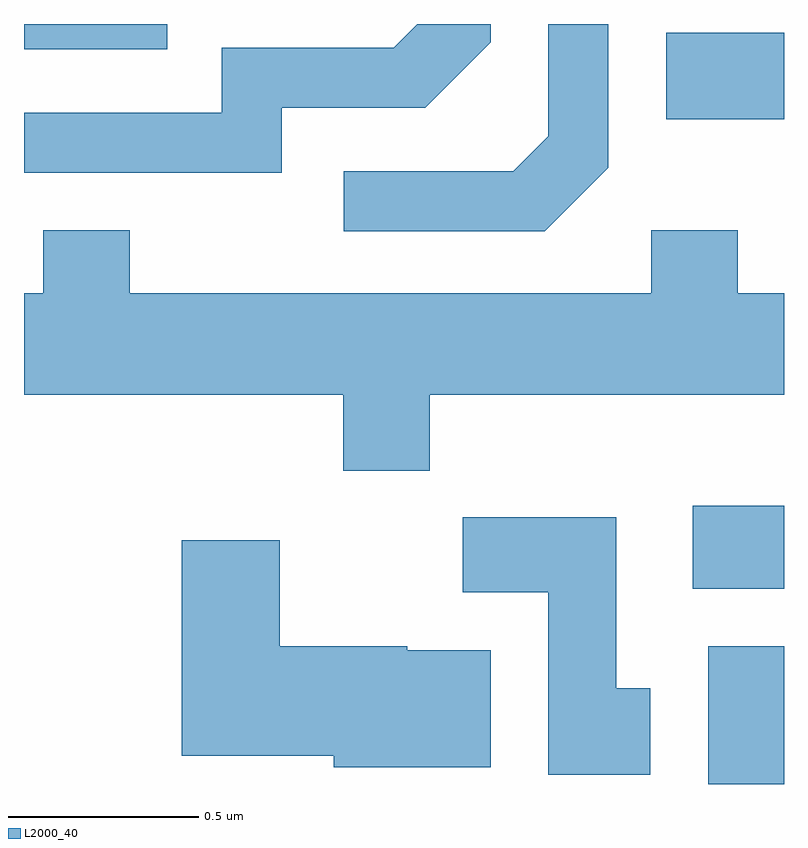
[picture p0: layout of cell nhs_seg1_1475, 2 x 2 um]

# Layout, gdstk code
import gdstk
lib = gdstk.Library(unit=1e-6, precision=1e-09)
def R(c, l, rs):  # rectangles x0, y0, x1, y1
    for r in rs: c.add(gdstk.rectangle(r[:2], r[2:], *l))
def P(c, l, *ps):  # polygons
    for p in ps: c.add(gdstk.Polygon(p, *l))
L2000_40 = (2000, 40)

nhs_seg1_1475 = lib.new_cell('nhs_seg1_1475')
R(nhs_seg1_1475, L2000_40, [(197.411,960.712,197.611,961.074), (197.371,961.226,197.611,961.444), (197.301,962.461,197.611,962.689), (195.611,962.646,195.988,962.712)])
P(nhs_seg1_1475, L2000_40, [(197.149,962.334),(197.149,962.712),(196.991,962.712),(196.991,962.417),(196.899,962.324),(196.453,962.324),(196.453,962.166),(196.982,962.166)],
  [(196.289,962.491),(196.667,962.491),(196.839,962.664),(196.839,962.712),(196.646,962.712),(196.584,962.649),(196.131,962.649),(196.131,962.479),(195.611,962.479),(195.611,962.321),(196.289,962.321)],
  [(196.679,961.736),(197.611,961.736),(197.611,962.004),(197.489,962.004),(197.489,962.169),(197.261,962.169),(197.261,962.004),(195.889,962.004),(195.889,962.169),(195.661,962.169),(195.661,962.004),(195.611,962.004),(195.611,961.736),(196.451,961.736),(196.451,961.536),(196.679,961.536)],
  [(197.259,960.964),(197.169,960.964),(197.169,961.414),(196.766,961.414),(196.766,961.216),(196.991,961.216),(196.991,960.736),(197.259,960.736)],
  [(196.839,961.064),(196.62,961.064),(196.62,961.074),(196.284,961.074),(196.284,961.354),(196.026,961.354),(196.026,960.786),(196.426,960.786),(196.426,960.756),(196.839,960.756)])

lib.write_gds('nhs_seg1_1475.gds')
